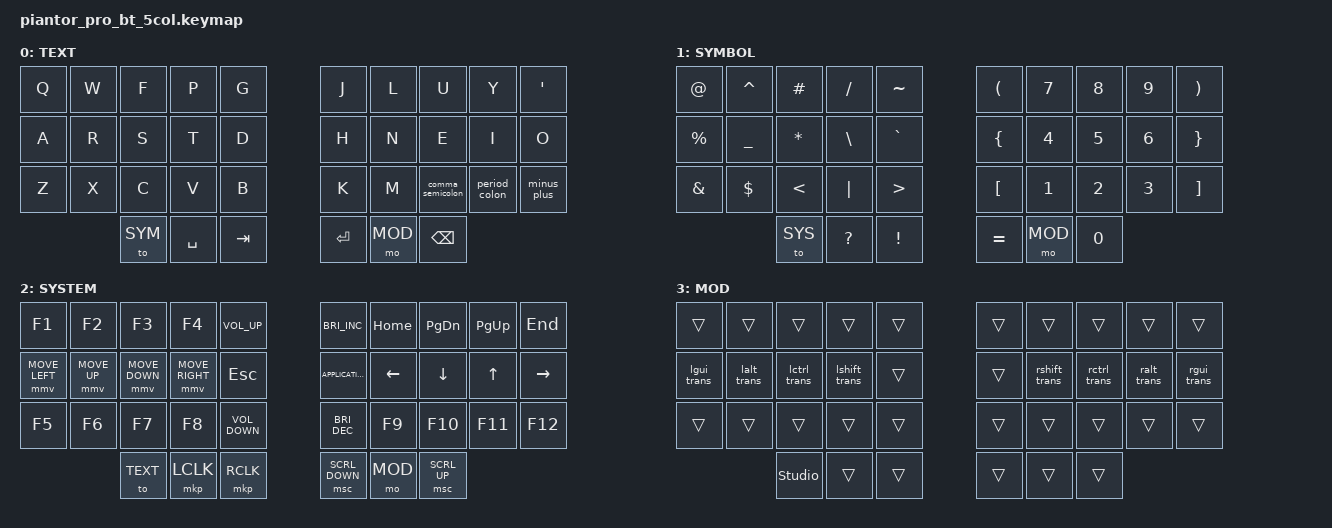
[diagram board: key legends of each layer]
/*
 * Copyright (c) 2020 The ZMK Contributors
 *
 * SPDX-License-Identifier: MIT
 */

#define ZMK_POINTING_DEFAULT_SCRL_VAL 600  // default: 10, now matches default for mouse movement

#include <behaviors.dtsi>
#include <dt-bindings/zmk/keys.h>
#include <dt-bindings/zmk/pointing.h>

#define TEXT 0
#define SYM 1
#define SYS 2
#define MOD 3

/ {
    chosen { zmk,physical-layout = &five_col_layout; };

    behaviors {
        comma_semicolon: comma_semicolon {
            compatible = "zmk,behavior-mod-morph";
            label = "COMMA_SEMICOLON";
            bindings = <&kp COMMA>, <&kp SEMICOLON>;

            #binding-cells = <0>;
            mods = <(MOD_LSFT|MOD_RSFT)>;
        };

        period_colon: period_colon {
            compatible = "zmk,behavior-mod-morph";
            label = "PERIOD_COLON";
            bindings = <&kp PERIOD>, <&kp COLON>;

            #binding-cells = <0>;
            mods = <(MOD_LSFT|MOD_RSFT)>;
        };

        minus_plus: minus_plus {
            compatible = "zmk,behavior-mod-morph";
            label = "MINUS_PLUS";
            bindings = <&kp MINUS>, <&kp PLUS>;

            #binding-cells = <0>;
            mods = <(MOD_LSFT|MOD_RSFT)>;
        };

        lshift_trans: lshift_trans {
            compatible = "zmk,behavior-mod-morph";
            label = "LSHFT_TRANS";
            bindings = <&kp LSHIFT>, <&trans>;

            #binding-cells = <0>;
            mods = <(MOD_RCTL|MOD_RSFT|MOD_RALT|MOD_RGUI)>;
            keep-mods = <(MOD_RCTL|MOD_RSFT|MOD_RALT|MOD_RGUI)>;
        };

        lctrl_trans: lctrl_trans {
            compatible = "zmk,behavior-mod-morph";
            label = "LCTRL_TRANS";
            bindings = <&kp LCTRL>, <&trans>;

            #binding-cells = <0>;
            mods = <(MOD_RCTL|MOD_RSFT|MOD_RALT|MOD_RGUI)>;
            keep-mods = <(MOD_RCTL|MOD_RSFT|MOD_RALT|MOD_RGUI)>;
        };

        lalt_trans: lalt_trans {
            compatible = "zmk,behavior-mod-morph";
            label = "LALT_TRANS";
            bindings = <&kp LALT>, <&trans>;

            #binding-cells = <0>;
            mods = <(MOD_RCTL|MOD_RSFT|MOD_RALT|MOD_RGUI)>;
            keep-mods = <(MOD_RCTL|MOD_RSFT|MOD_RALT|MOD_RGUI)>;
        };

        lgui_trans: lgui_trans {
            compatible = "zmk,behavior-mod-morph";
            label = "LGUI_TRANS";
            bindings = <&kp LGUI>, <&trans>;

            #binding-cells = <0>;
            mods = <(MOD_RCTL|MOD_RSFT|MOD_RALT|MOD_RGUI)>;
            keep-mods = <(MOD_RCTL|MOD_RSFT|MOD_RALT|MOD_RGUI)>;
        };

        rshift_trans: rshift_trans {
            compatible = "zmk,behavior-mod-morph";
            label = "RSHFT_TRANS";
            bindings = <&kp RSHIFT>, <&trans>;

            #binding-cells = <0>;
            mods = <(MOD_LCTL|MOD_LSFT|MOD_LALT|MOD_LGUI)>;
            keep-mods = <(MOD_LCTL|MOD_LSFT|MOD_LALT|MOD_LGUI)>;
        };

        rctrl_trans: rctrl_trans {
            compatible = "zmk,behavior-mod-morph";
            label = "RCTRL_TRANS";
            bindings = <&kp RCTRL>, <&trans>;

            #binding-cells = <0>;
            mods = <(MOD_LCTL|MOD_LSFT|MOD_LALT|MOD_LGUI)>;
            keep-mods = <(MOD_LCTL|MOD_LSFT|MOD_LALT|MOD_LGUI)>;
        };

        ralt_trans: ralt_trans {
            compatible = "zmk,behavior-mod-morph";
            label = "RALT_TRANS";
            bindings = <&kp RALT>, <&trans>;

            #binding-cells = <0>;
            mods = <(MOD_LCTL|MOD_LSFT|MOD_LALT|MOD_LGUI)>;
            keep-mods = <(MOD_LCTL|MOD_LSFT|MOD_LALT|MOD_LGUI)>;
        };

        rgui_trans: rgui_trans {
            compatible = "zmk,behavior-mod-morph";
            label = "RGUI_TRANS";
            bindings = <&kp RGUI>, <&trans>;

            #binding-cells = <0>;
            mods = <(MOD_LCTL|MOD_LSFT|MOD_LALT|MOD_LGUI)>;
            keep-mods = <(MOD_LCTL|MOD_LSFT|MOD_LALT|MOD_LGUI)>;
        };
    };

    keymap {
        compatible = "zmk,keymap";

        text_layer {
            display-name = "TEXT";

            // -------------------------------------------------------------------
            // |  Q  |  W  |  F  |  P  |  G  |     |  J  |  L  |  U  |  Y  | '/" |
            // |  A  |  R  |  S  |  T  |  D  |     |  H  |  N  |  E  |  I  |  O  |
            // |  Z  |  X  |  C  |  V  |  B  |     |  K  |  M  | ,/; | ./: | -/+ |
            //             | SYM |  ␣  |  ⭾  |     |  ⏎  | MOD |  ⌫  |

            bindings = <
                &kp Q  &kp W  &kp F    &kp P      &kp G    &kp J    &kp L    &kp U             &kp Y          &kp APOSTROPHE
                &kp A  &kp R  &kp S    &kp T      &kp D    &kp H    &kp N    &kp E             &kp I          &kp O
                &kp Z  &kp X  &kp C    &kp V      &kp B    &kp K    &kp M    &comma_semicolon  &period_colon  &minus_plus
                              &to SYM  &kp SPACE  &kp TAB  &kp RET  &mo MOD  &kp BSPC
            >;
        };

        symbol_layer {
            display-name = "SYMBOL";

            // -------------------------------------------------------------------
            // |  @  |  ^  |  #  |  /  |  ~  |     |  (  |  7  |  8  |  9  |  )  |
            // |  %  |  _  |  *  |  \  |  `  |     |  {  |  4  |  5  |  6  |  }  |
            // |  &  |  $  |  <  |  |  |  >  |     |  [  |  1  |  2  |  3  |  ]  |
            //             | SYS |  ?  |  !  |     |  =  | MOD |  0  |

            bindings = <
                &kp AT_SIGN    &kp CARET       &kp POUND      &kp SLASH      &kp TILDE         &kp LEFT_PARENTHESIS  &kp N7   &kp N8  &kp N9  &kp RIGHT_PARENTHESIS
                &kp PERCENT    &kp UNDERSCORE  &kp ASTERISK   &kp BACKSLASH  &kp GRAVE         &kp LEFT_BRACE        &kp N4   &kp N5  &kp N6  &kp RIGHT_BRACE
                &kp AMPERSAND  &kp DOLLAR      &kp LESS_THAN  &kp PIPE       &kp GREATER_THAN  &kp LEFT_BRACKET      &kp N1   &kp N2  &kp N3  &kp RIGHT_BRACKET
                                               &to SYS        &kp QUESTION   &kp EXCLAMATION   &kp EQUAL             &mo MOD  &kp N0
            >;
        };

        system_layer {
            display-name = "SYSTEM";

            // ------------------------------------------------------------------------------
            // | F1 | F2 |  F3  |  F4  | VOLU |      | BRIU | HOME | PGDN | PGUP | END  |
            // | 🖰← | 🖰↑ |  🖰↓  |  🖰→  | ESC  |      | MENU | LEFT | DOWN |  UP  | RGHT |
            // | F5 | F6 |  F7  |  F8  | VOLD |      | BRID |  F9  | F10  | F11  | F12  |
            //           | TEXT | LCLK | RCLK |      | SCRD | MOD  | SCRU |

            bindings = <
                &kp F1          &kp F2        &kp F3          &kp F4           &kp C_VOLUME_UP    &kp C_BRIGHTNESS_INC  &kp HOME  &kp PAGE_DOWN  &kp PAGE_UP  &kp END
                &mmv MOVE_LEFT  &mmv MOVE_UP  &mmv MOVE_DOWN  &mmv MOVE_RIGHT  &kp ESCAPE         &kp K_APPLICATION     &kp LEFT  &kp DOWN       &kp UP       &kp RIGHT
                &kp F5          &kp F6        &kp F7          &kp F8           &kp C_VOLUME_DOWN  &kp C_BRIGHTNESS_DEC  &kp F9    &kp F10        &kp F11      &kp F12
                                              &to TEXT        &mkp LCLK        &mkp RCLK          &msc SCRL_DOWN        &mo MOD   &msc SCRL_UP
            >;
        };

        modifier_layer {
            display-name = "MOD";

            // --------------------------------------------------------
            // |    |    |    |    |    |    |    |    |    |    |    |
            // | L⌘ | L⎇ | L⎈ | L⇧ |    |    |    | R⇧ | R⎈ | R⎇ | R⌘ |
            // |    |    |    |    |    |    |    |    |    |    |    |
            //           | 🔓 |    |    |    |    |    |    |

            bindings = <
                &trans       &trans          &trans        &trans         &trans  &trans  &trans         &trans        &trans       &trans
                &lgui_trans  &lalt_trans     &lctrl_trans  &lshift_trans  &trans  &trans  &rshift_trans  &rctrl_trans  &ralt_trans  &rgui_trans
                &trans       &trans          &trans        &trans         &trans  &trans  &trans         &trans        &trans       &trans
                             &studio_unlock  &trans        &trans         &trans  &trans  &trans
            >;
        };
    };
};
